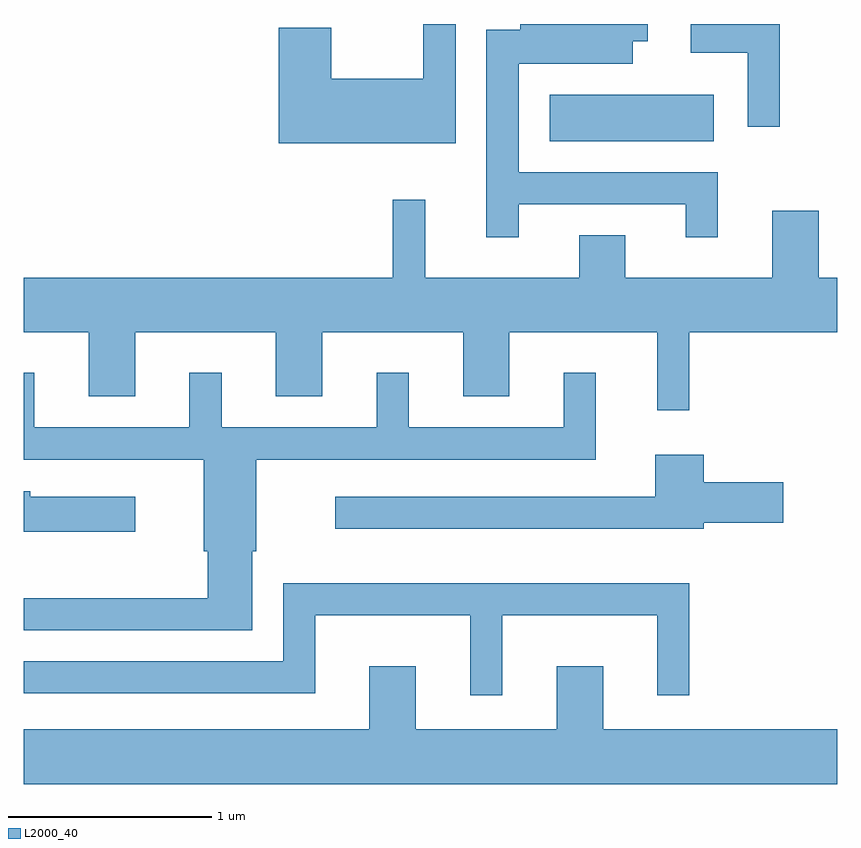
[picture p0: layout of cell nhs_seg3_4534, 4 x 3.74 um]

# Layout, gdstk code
import gdstk
lib = gdstk.Library(unit=1e-6, precision=1e-09)
def R(c, l, rs):  # rectangles x0, y0, x1, y1
    for r in rs: c.add(gdstk.rectangle(r[:2], r[2:], *l))
def P(c, l, *ps):  # polygons
    for p in ps: c.add(gdstk.Polygon(p, *l))
L2000_40 = (2000, 40)

nhs_seg3_4534 = lib.new_cell('nhs_seg3_4534')
R(nhs_seg3_4534, L2000_40, [(320.196,1211.316,321.004,1211.544)])
P(nhs_seg3_4534, L2000_40, [(321.329,1211.892),(320.891,1211.892),(320.891,1211.751),(321.171,1211.751),(321.171,1211.388),(321.329,1211.388)],
  [(319.734,1211.892),(319.576,1211.892),(319.576,1211.624),(319.124,1211.624),(319.124,1211.874),(318.866,1211.874),(318.866,1211.306),(319.734,1211.306)],
  [(320.044,1211.006),(320.866,1211.006),(320.866,1210.843),(321.024,1210.843),(321.024,1211.164),(320.044,1211.164),(320.044,1211.696),(320.604,1211.696),(320.604,1211.806),(320.679,1211.806),(320.679,1211.892),(320.051,1211.892),(320.051,1211.864),(319.886,1211.864),(319.886,1210.843),(320.044,1210.843)],
  [(320.884,1210.376),(321.611,1210.376),(321.611,1210.644),(321.519,1210.644),(321.519,1210.974),(321.291,1210.974),(321.291,1210.644),(320.569,1210.644),(320.569,1210.854),(320.341,1210.854),(320.341,1210.644),(319.584,1210.644),(319.584,1211.028),(319.426,1211.028),(319.426,1210.644),(317.611,1210.644),(317.611,1210.376),(317.931,1210.376),(317.931,1210.061),(318.159,1210.061),(318.159,1210.376),(318.851,1210.376),(318.851,1210.061),(319.079,1210.061),(319.079,1210.376),(319.771,1210.376),(319.771,1210.061),(319.999,1210.061),(319.999,1210.376),(320.726,1210.376),(320.726,1209.993),(320.884,1209.993)],
  [(318.734,1209.301),(318.754,1209.301),(318.754,1209.751),(320.424,1209.751),(320.424,1210.178),(320.266,1210.178),(320.266,1209.909),(319.504,1209.909),(319.504,1210.178),(319.346,1210.178),(319.346,1209.909),(318.584,1209.909),(318.584,1210.178),(318.426,1210.178),(318.426,1209.909),(317.664,1209.909),(317.664,1210.178),(317.611,1210.178),(317.611,1209.751),(318.496,1209.751),(318.496,1209.301),(318.516,1209.301),(318.516,1209.069),(317.611,1209.069),(317.611,1208.911),(318.734,1208.911)],
  [(320.954,1209.441),(321.344,1209.441),(321.344,1209.639),(320.954,1209.639),(320.954,1209.774),(320.716,1209.774),(320.716,1209.569),(319.143,1209.569),(319.143,1209.411),(320.954,1209.411)],
  [(318.159,1209.569),(317.644,1209.569),(317.644,1209.594),(317.611,1209.594),(317.611,1209.396),(318.159,1209.396)],
  [(319.964,1208.986),(320.726,1208.986),(320.726,1208.593),(320.884,1208.593),(320.884,1209.144),(318.886,1209.144),(318.886,1208.759),(317.611,1208.759),(317.611,1208.601),(319.044,1208.601),(319.044,1208.986),(319.806,1208.986),(319.806,1208.593),(319.964,1208.593)],
  [(321.611,1208.424),(320.459,1208.424),(320.459,1208.734),(320.231,1208.734),(320.231,1208.424),(319.539,1208.424),(319.539,1208.734),(319.311,1208.734),(319.311,1208.424),(317.611,1208.424),(317.611,1208.156),(321.611,1208.156)])

lib.write_gds('nhs_seg3_4534.gds')
